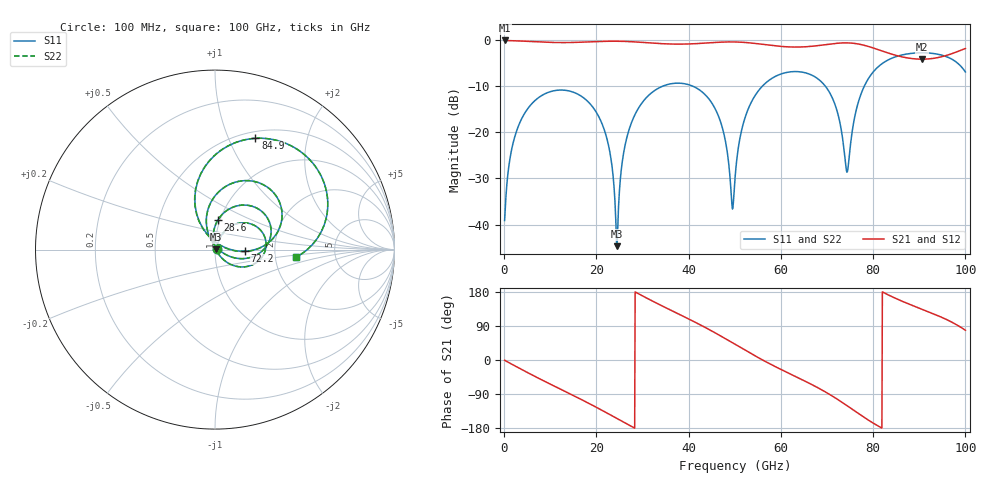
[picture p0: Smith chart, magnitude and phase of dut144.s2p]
! Touchstone file exported from HFSS 2026.1.0
!  File:  C:/ffzhzh/LocalFiles/Ansys_Project_Files/temp_train_TSV_RDL_144_1783643308_26216.aedt
!  Generated:  08:35:46 AM Jul 10, 2026
!  Design:  TSV_RDL
!  Project:  temp_train_TSV_RDL_144_1783643308_26216
! Variables:
!  h_bsmrdl = 2.86um
!  h_ox = 20um
!  h_rdl = 5um
!  h_sub = 97.76um
!  h_tmrdl = 2.02um
!  h_tsv = 97.76um
!  h_via = 3um
!  l_bsmrdl = 178.22um
!  l_sub = 1699.78um
!  l_tmrdl = 158.13um
!  m_sub = 200um
!  pitch = 50.16um
!  r_tsv = 14.94um
!  s_tmrdl = 10um
!  w_bsmrdl = 26.01um
!  w_sub = 500um
!  w_tmrdl = 18.19um
!  x_tsv_center1 = 167.225um
!  x_tsv_center2 = 371.455um
!  x_tsv_center3 = 547.775um
!  x_tsv_center4 = 752.005um
!  x_tsv_center5 = 928.325um
!  x_tsv_center6 = 1132.555um
# GHz S MA R 50.000000
! Terminal data exported
! Port[1] = TM_RDL1_1_T1
! Port[2] = TM_RDL5_1_T1
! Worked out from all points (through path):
!   1000 points, 100 MHz to 100 GHz, reference 50 ohm
!   highest |S21| = -0.09 dB at 100 MHz (marker M1); lowest = -4.1 dB at 90.6 GHz (marker M2)
!   group delay of S21, straight-line fit = 18.1 ps
!   lowest |S11| = -44.7 dB at 24.4 GHz (marker M3), VSWR 1.01, Z = 50.6 + j0.0707 ohm
!   |S11| at or under -10 dB: start of sweep to 34.38 GHz; 40.89 GHz to 55.98 GHz (15.09 GHz wide, 31.2 % of centre); 69.64 GHz to 78.08 GHz (8.448 GHz wide, 11.4 % of centre)
!   |S22| runs from -44.9 to -2.8 dB; largest |S21 - S12| = 1.2e-12
!   S11 on the Smith chart (normalised r, x): 100 MHz: 1.02, +0.01; 28.6 GHz: 0.98, +0.33; 72.2 GHz: 1.41, -0.03; 84.9 GHz: 0.57, +1.26; 100 GHz: 2.60, -0.29
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0.1  0.01107 23.5  0.9899 -0.7  0.9899 -0.7  0.01107 23.5
! Gamma 0 0 0 0
! Port Impedance 50 0 50 0
1.8  0.07148 66.8  0.9836 -12.0  0.9836 -12.0  0.07149 66.8
4.9  0.1743 52.8  0.9688 -32.1  0.9688 -32.1  0.1743 52.8
16.8  0.2449 -16.4  0.9483 -104.7  0.9483 -104.7  0.245 -16.5
22  0.09583 -47.0  0.9692 -137.9  0.9692 -137.9  0.09583 -47.1
24.4  0.005833 6.9  0.9711 -153.9  0.9711 -153.9  0.005677 6.3
26.1  0.06772 98.1  0.9669 -165.3  0.9669 -165.3  0.06771 98.2
28.6  0.1642 84.6  0.9534 178.2  0.9534 178.2  0.1642 84.7
33.4  0.2997 55.9  0.9184 147.9  0.9184 147.9  0.2997 55.9
44.1  0.2396 -6.3  0.9306 82.6  0.9306 82.6  0.2398 -6.3
47.5  0.1031 -24.0  0.9511 59.6  0.9511 59.6  0.1032 -24.0
49.4  0.01604 21.0  0.9543 46.2  0.9543 46.2  0.01616 20.6
50.1  0.03391 104.2  0.9532 41.2  0.9532 41.2  0.03383 103.9
55  0.2765 93.3  0.9116 6.9  0.9116 6.9  0.2764 93.2
66.7  0.4165 26.3  0.8561 -64.8  0.8561 -64.8  0.4165 26.2
72.2  0.1688 -3.1  0.9229 -103.2  0.9229 -103.2  0.1686 -3.7
74.4  0.03726 65.3  0.9318 -121.1  0.9318 -121.1  0.03549 65.5
77.5  0.2704 114.1  0.8911 -147.0  0.8911 -147.0  0.27 114.4
83.4  0.6143 78.0  0.7197 171.1  0.7197 171.1  0.6141 78.1
84.9  0.6596 70.0  0.6834 162.5  0.6834 162.5  0.6594 70.1
90.6  0.7277 43.5  0.6206 134.0  0.6206 134.0  0.7276 43.6
100  0.4508 -5.6  0.8103 78.5  0.8103 78.5  0.4508 -5.5
